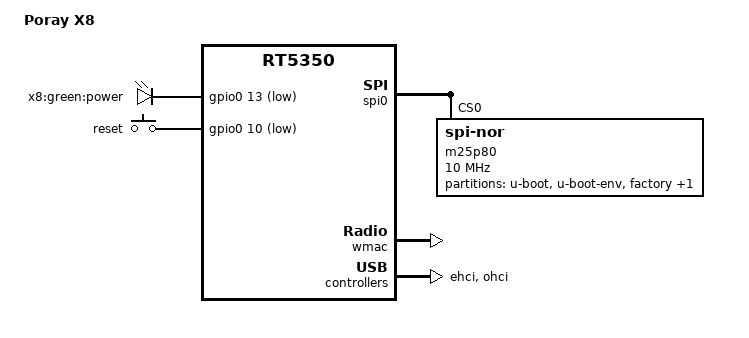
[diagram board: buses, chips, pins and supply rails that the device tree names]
/dts-v1/;

#include "rt5350.dtsi"

#include <dt-bindings/gpio/gpio.h>
#include <dt-bindings/input/input.h>

/ {
	compatible = "poray,x8", "ralink,rt5350-soc";
	model = "Poray X8";

	aliases {
		led-boot = &led_power;
		led-failsafe = &led_power;
		led-running = &led_power;
		led-upgrade = &led_power;
	};

	leds {
		compatible = "gpio-leds";

		led_power: power {
			label = "x8:green:power";
			gpios = <&gpio0 13 GPIO_ACTIVE_LOW>;
		};
	};

	keys {
		compatible = "gpio-keys-polled";
		poll-interval = <20>;

		reset {
			label = "reset";
			gpios = <&gpio0 10 GPIO_ACTIVE_LOW>;
			linux,code = <KEY_RESTART>;
		};
	};
};

&spi0 {
	status = "okay";

	m25p80@0 {
		compatible = "jedec,spi-nor";
		reg = <0>;
		spi-max-frequency = <10000000>;

		partitions {
			compatible = "fixed-partitions";
			#address-cells = <1>;
			#size-cells = <1>;

			partition@0 {
				label = "u-boot";
				reg = <0x0 0x30000>;
				read-only;
			};

			partition@30000 {
				label = "u-boot-env";
				reg = <0x30000 0x10000>;
				read-only;
			};

			factory: partition@40000 {
				label = "factory";
				reg = <0x40000 0x10000>;
				read-only;
			};

			partition@50000 {
				compatible = "denx,uimage";
				label = "firmware";
				reg = <0x50000 0x7b0000>;
			};
		};
	};
};

&pinctrl {
	state_default: pinctrl0 {
		gpio {
			ralink,group = "i2c", "jtag", "uartf";
			ralink,function = "gpio";
		};
	};
};

&ethernet {
	mtd-mac-address = <&factory 0x4>;
};

&esw {
	mediatek,portmap = <0x2f>;
	mediatek,led_polarity = <1>;
};

&wmac {
	ralink,mtd-eeprom = <&factory 0>;
	ralink,led-polarity = <1>;
};

&ehci {
	status = "okay";
};

&ohci {
	status = "okay";
};
